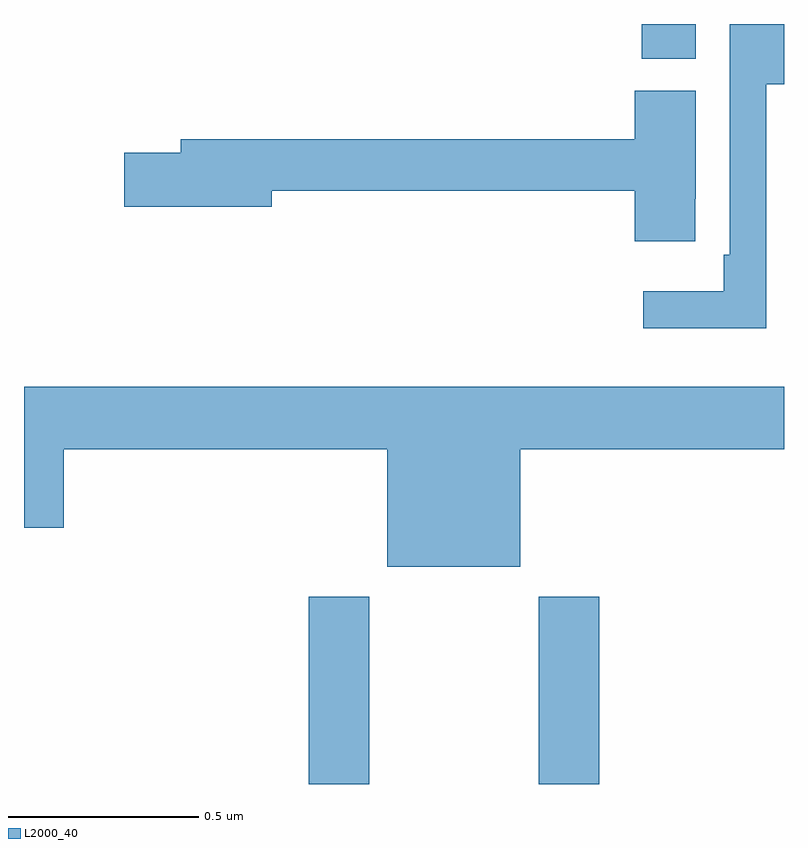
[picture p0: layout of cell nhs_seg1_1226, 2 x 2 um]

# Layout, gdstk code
import gdstk
lib = gdstk.Library(unit=1e-6, precision=1e-09)
def R(c, l, rs):  # rectangles x0, y0, x1, y1
    for r in rs: c.add(gdstk.rectangle(r[:2], r[2:], *l))
def P(c, l, *ps):  # polygons
    for p in ps: c.add(gdstk.Polygon(p, *l))
L2000_40 = (2000, 40)

nhs_seg1_1226 = lib.new_cell('nhs_seg1_1226')
R(nhs_seg1_1226, L2000_40, [(126.749,536.199,126.909,536.692), (127.354,536.199,127.514,536.692), (127.625,538.108,127.768,538.199)])
P(nhs_seg1_1226, L2000_40, [(127.953,538.041),(128,538.041),(128,538.199),(127.857,538.199),(127.857,537.592),(127.841,537.592),(127.841,537.496),(127.629,537.496),(127.629,537.398),(127.953,537.398)],
  [(127.767,537.739),(127.768,537.739),(127.768,538.023),(127.607,538.023),(127.607,537.896),(126.413,537.896),(126.413,537.86),(126.264,537.86),(126.264,537.718),(126.652,537.718),(126.652,537.76),(127.607,537.76),(127.607,537.627),(127.767,537.627)],
  [(127.306,537.08),(128,537.08),(128,537.244),(126,537.244),(126,536.874),(126.104,536.874),(126.104,537.08),(126.956,537.08),(126.956,536.771),(127.306,536.771)])

lib.write_gds('nhs_seg1_1226.gds')
